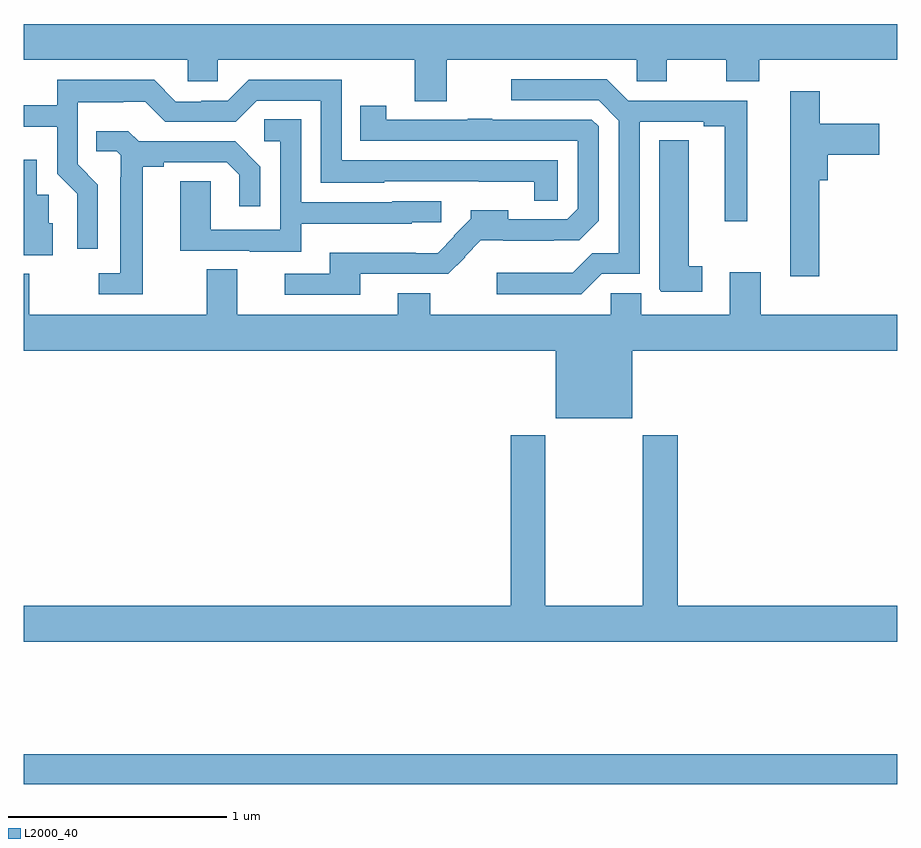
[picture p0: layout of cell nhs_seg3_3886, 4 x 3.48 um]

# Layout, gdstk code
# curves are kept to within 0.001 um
import gdstk
lib = gdstk.Library(unit=1e-6, precision=1e-09)
def R(c, l, rs):  # rectangles x0, y0, x1, y1
    for r in rs: c.add(gdstk.rectangle(r[:2], r[2:], *l))
def P(c, l, *ps):  # polygons
    for p in ps: c.add(gdstk.Polygon(p, *l))
L2000_40 = (2000, 40)

nhs_seg3_3886 = lib.new_cell('nhs_seg3_3886')
R(nhs_seg3_3886, L2000_40, [(311,742.888,315,743.024)])
P(nhs_seg3_3886, L2000_40, [(312.937,746.204),(313.806,746.204),(313.806,746.106),(313.945,746.106),(313.945,746.204),(314.216,746.204),(314.216,746.105),(314.369,746.105),(314.369,746.204),(315,746.204),(315,746.368),(311,746.368),(311,746.204),(311.751,746.204),(311.751,746.106),(311.889,746.106),(311.889,746.204),(312.79,746.204),(312.79,746.014),(312.937,746.014)],
  [(313.647,745.224),(313.821,745.224),(313.821,745.92),(314.114,745.92),(314.114,745.9),(314.21,745.9),(314.21,745.464),(314.314,745.464),(314.314,746.016),(313.768,746.016),(313.669,746.115),(313.233,746.115),(313.233,746.019),(313.632,746.019),(313.725,745.926),(313.725,745.319),(313.604,745.319),(313.513,745.228),(313.167,745.228),(313.167,745.131),(313.554,745.131)],
  [(311.34,745.632),(311.247,745.725),(311.247,746.009),(311.456,746.009),(311.456,746.013),(311.556,746.013),(311.649,745.92),(311.97,745.92),(312.066,746.016),(312.36,746.016),(312.36,745.64),(312.651,745.64),(312.651,745.647),(313.338,745.646),(313.338,745.558),(313.446,745.558),(313.446,745.743),(312.456,745.743),(312.456,746.112),(312.03,746.112),(311.934,746.016),(311.814,746.016),(311.814,746.013),(311.697,746.013),(311.597,746.113),(311.153,746.113),(311.153,745.995),(311,745.995),(311,745.898),(311.154,745.898),(311.154,745.682),(311.246,745.59),(311.246,745.338),(311.34,745.338)],
  [(314.642,745.652),(314.681,745.652),(314.681,745.769),(314.917,745.769),(314.917,745.911),(314.645,745.911),(314.645,746.059),(314.51,746.059),(314.51,745.212),(314.642,745.212)],
  [(312.541,745.224),(312.945,745.224),(313.021,745.301),(313.019,745.303),(313.093,745.377),(313.427,745.376),(313.427,745.378),(313.543,745.378),(313.632,745.467),(313.632,745.899),(313.602,745.929),(313.145,745.929),(313.145,745.934),(313.033,745.934),(313.033,745.929),(312.66,745.929),(312.66,745.993),(312.541,745.993),(312.541,745.833),(313.536,745.833),(313.536,745.521),(313.488,745.473),(313.219,745.473),(313.219,745.516),(313.048,745.516),(313.048,745.477),(312.969,745.398),(312.972,745.395),(312.896,745.319),(312.794,745.319),(312.794,745.321),(312.401,745.321),(312.401,745.224),(312.195,745.224),(312.195,745.128),(312.541,745.128)],
  [(312.271,745.454),(312.777,745.454),(312.777,745.461),(312.912,745.461),(312.912,745.557),(312.687,745.557),(312.687,745.551),(312.27,745.551),(312.27,745.931),(312.102,745.931),(312.102,745.83),(312.174,745.83),(312.174,745.425),(311.856,745.425),(311.856,745.649),(311.717,745.649),(311.717,745.329),(312.035,745.329),(312.035,745.325),(312.271,745.325)],
  [(311.545,745.714),(311.641,745.714),(311.641,745.734),(311.93,745.734),(311.987,745.677),(311.987,745.533),(312.084,745.533),(312.084,745.714),(311.968,745.83),(311.526,745.83),(311.478,745.877),(311.332,745.877),(311.332,745.785),(311.427,745.785),(311.445,745.767),(311.445,745.667),(311.441,745.667),(311.441,745.227),(311.343,745.227),(311.343,745.131),(311.545,745.131)],
  [(314.107,745.259),(314.044,745.259),(314.044,745.835),(313.91,745.835),(313.91,745.153),(313.92,745.143),(314.107,745.143)],
  [(311.134,745.455),(311.115,745.455),(311.115,745.587),(311.059,745.587),(311.059,745.747),(311,745.747),(311,745.31),(311.134,745.31)],
  [(313.786,744.872),(315,744.872),(315,745.036),(314.374,745.036),(314.374,745.231),(314.234,745.231),(314.234,745.036),(313.828,745.036),(313.828,745.134),(313.689,745.134),(313.689,745.036),(312.861,745.036),(312.861,745.135),(312.713,745.135),(312.713,745.036),(311.977,745.036),(311.977,745.244),(311.837,745.244),(311.837,745.036),(311.025,745.036),(311.025,745.225),(311,745.225),(311,744.872),(313.436,744.872),(313.436,744.563),(313.786,744.563)],
  [(315,743.704),(313.994,743.704),(313.994,744.484),(313.834,744.484),(313.834,743.704),(313.389,743.704),(313.389,744.484),(313.229,744.484),(313.229,743.704),(311,743.704),(311,743.54),(315,743.54)])

lib.write_gds('nhs_seg3_3886.gds')
